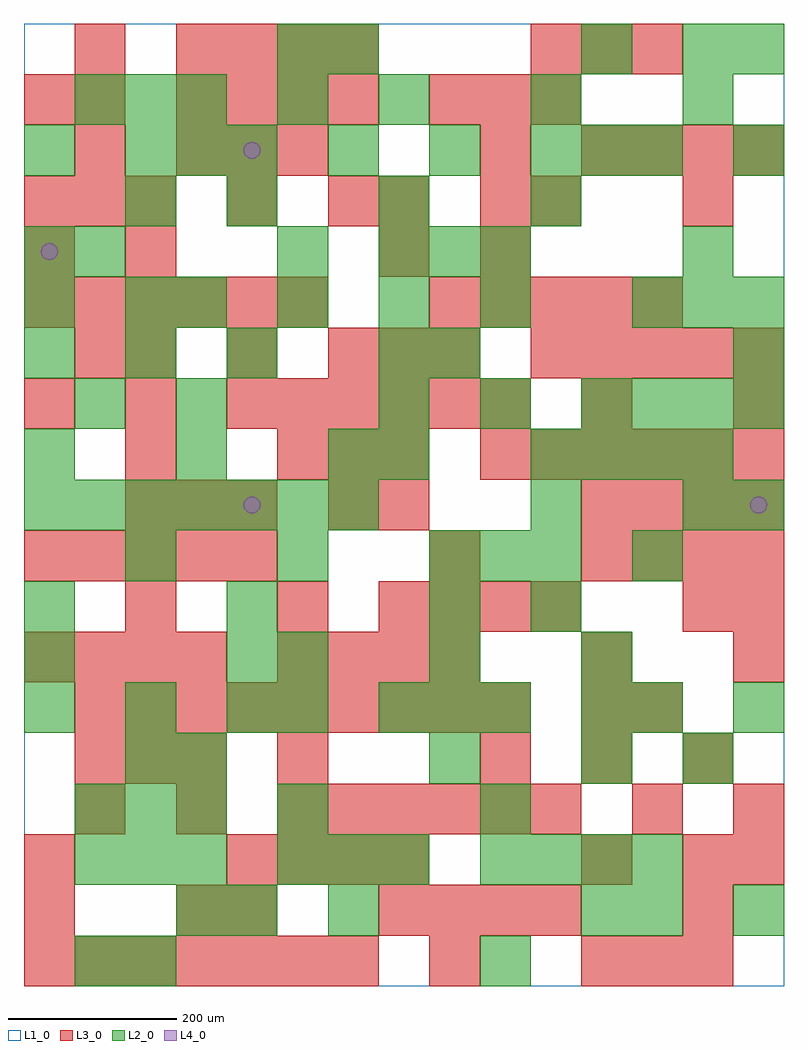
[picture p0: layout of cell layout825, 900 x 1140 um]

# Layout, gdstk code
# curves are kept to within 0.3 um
import gdstk
lib = gdstk.Library(unit=1e-6, precision=1e-09)
def R(c, l, rs):  # rectangles x0, y0, x1, y1
    for r in rs: c.add(gdstk.rectangle(r[:2], r[2:], *l))
def A(c, l, x, y, w, h, nx, ny, dx, dy):  # array of equal rectangles
    R(c, l, [(x+i*dx, y+j*dy, x+i*dx+w, y+j*dy+h) for i in range(nx) for j in range(ny)])
def P(c, l, *ps):  # polygons
    for p in ps: c.add(gdstk.Polygon(p, *l))
L1_0 = (1, 0)
L2_0 = (2, 0)
L3_0 = (3, 0)
L4_0 = (4, 0)

layout825 = lib.new_cell('layout825')
R(layout825, L1_0, [(0,0,900,1140)])
A(layout825, L2_0, 840, 60, 60, 60, 1, 3, 0, 240)
A(layout825, L2_0, 60, 120, 60, 60, 3, 2, 60, 60)
A(layout825, L2_0, 300, 120, 60, 60, 3, 1, 60, 0)
A(layout825, L2_0, 540, 120, 60, 60, 4, 1, 60, 0)
A(layout825, L2_0, 780, 240, 60, 60, 1, 3, 0, 300)
A(layout825, L2_0, 0, 300, 60, 60, 3, 2, 120, 420)
A(layout825, L2_0, 420, 300, 60, 60, 3, 2, 60, 540)
A(layout825, L2_0, 300, 360, 60, 60, 3, 1, 180, 0)
A(layout825, L2_0, 0, 420, 60, 60, 3, 1, 240, 0)
A(layout825, L2_0, 600, 420, 60, 60, 1, 3, 0, 60)
A(layout825, L2_0, 120, 480, 60, 60, 3, 1, 180, 0)
A(layout825, L2_0, 0, 540, 60, 60, 7, 1, 60, 0)
A(layout825, L2_0, 0, 600, 60, 60, 3, 1, 180, 0)
A(layout825, L2_0, 600, 600, 60, 60, 4, 1, 60, 0)
A(layout825, L2_0, 420, 660, 60, 60, 3, 1, 120, 0)
A(layout825, L2_0, 720, 660, 60, 60, 3, 2, 60, 120)
A(layout825, L2_0, 180, 780, 60, 60, 4, 1, 120, 0)
A(layout825, L2_0, 240, 900, 60, 60, 3, 1, 180, 0)
A(layout825, L2_0, 120, 960, 60, 60, 3, 1, 60, 0)
A(layout825, L2_0, 360, 960, 60, 60, 3, 1, 120, 0)
A(layout825, L2_0, 60, 1020, 60, 60, 3, 1, 60, 0)
A(layout825, L2_0, 420, 1020, 60, 60, 3, 1, 180, 0)
R(layout825, L2_0, [(60,0,120,60), (120,0,180,60), (540,0,600,60), (180,60,240,120), (240,60,300,120), (360,60,420,120), (660,60,720,120), (720,60,780,120), (300,180,360,240), (540,180,600,240), (120,240,180,300), (180,240,240,300), (480,240,540,300), (660,240,720,300), (300,300,360,360), (660,300,720,360), (720,300,780,360), (0,360,60,420), (240,360,300,420), (540,480,600,540), (720,480,780,540), (420,600,480,660), (60,660,120,720), (180,660,240,720), (420,720,480,780), (480,720,540,780), (840,720,900,780), (0,780,60,840), (120,780,180,840), (0,840,60,900), (60,840,120,900), (300,840,360,900), (120,900,180,960), (0,960,60,1020), (660,960,720,1020), (720,960,780,1020), (840,960,900,1020), (300,1020,360,1080), (300,1080,360,1140), (360,1080,420,1140), (660,1080,720,1140), (780,1080,840,1140), (840,1080,900,1140)])
A(layout825, L3_0, 0, 0, 60, 60, 7, 1, 60, 0)
A(layout825, L3_0, 660, 0, 60, 60, 3, 1, 60, 0)
A(layout825, L3_0, 420, 60, 60, 60, 4, 2, 60, 360)
A(layout825, L3_0, 240, 120, 60, 60, 4, 1, 60, 0)
A(layout825, L3_0, 60, 180, 60, 60, 3, 1, 120, 0)
A(layout825, L3_0, 360, 180, 60, 60, 5, 1, 60, 0)
A(layout825, L3_0, 60, 240, 60, 60, 3, 1, 60, 0)
A(layout825, L3_0, 540, 240, 60, 60, 3, 1, 120, 0)
A(layout825, L3_0, 60, 300, 60, 60, 9, 1, 60, 0)
A(layout825, L3_0, 0, 360, 60, 60, 4, 1, 60, 0)
A(layout825, L3_0, 300, 360, 60, 60, 4, 1, 60, 0)
A(layout825, L3_0, 0, 480, 60, 60, 5, 1, 60, 0)
A(layout825, L3_0, 660, 480, 60, 60, 4, 2, 60, 60)
A(layout825, L3_0, 120, 540, 60, 60, 3, 1, 60, 0)
A(layout825, L3_0, 300, 600, 60, 60, 3, 1, 60, 0)
A(layout825, L3_0, 540, 600, 60, 60, 6, 1, 60, 0)
A(layout825, L3_0, 0, 660, 60, 60, 3, 1, 120, 0)
A(layout825, L3_0, 300, 660, 60, 60, 5, 1, 60, 0)
A(layout825, L3_0, 120, 720, 60, 60, 3, 1, 120, 0)
A(layout825, L3_0, 600, 720, 60, 60, 5, 1, 60, 0)
A(layout825, L3_0, 0, 780, 60, 60, 6, 1, 60, 0)
A(layout825, L3_0, 480, 780, 60, 60, 5, 1, 60, 0)
A(layout825, L3_0, 540, 840, 60, 60, 1, 3, 0, 60)
A(layout825, L3_0, 0, 900, 60, 60, 3, 1, 60, 0)
A(layout825, L3_0, 60, 960, 60, 60, 1, 3, 0, 60)
A(layout825, L3_0, 180, 960, 60, 60, 3, 1, 60, 0)
A(layout825, L3_0, 660, 960, 60, 60, 4, 1, 60, 0)
A(layout825, L3_0, 180, 1020, 60, 60, 4, 2, 60, 60)
A(layout825, L3_0, 480, 1020, 60, 60, 3, 1, 60, 0)
A(layout825, L3_0, 600, 1080, 60, 60, 3, 1, 60, 0)
R(layout825, L3_0, [(480,0,540,60), (0,60,60,120), (180,60,240,120), (240,60,300,120), (780,60,840,120), (0,120,60,180), (660,120,720,180), (780,120,840,180), (840,120,900,180), (720,180,780,240), (840,180,900,240), (300,240,360,300), (660,300,720,360), (720,300,780,360), (660,360,720,420), (840,360,900,420), (120,420,180,480), (300,420,360,480), (780,420,840,480), (840,420,900,480), (480,480,540,540), (360,540,420,600), (420,540,480,600), (120,600,180,660), (660,660,720,720), (840,660,900,720), (60,720,120,780), (420,720,480,780), (480,720,540,780), (0,840,60,900), (120,840,180,900), (420,840,480,900), (240,900,300,960), (360,900,420,960), (420,900,480,960), (600,900,660,960), (780,900,840,960), (0,1020,60,1080)])
P(layout825, L4_0, [(40,870),(39.239,873.827),(37.071,877.071),(33.827,879.239),(30,880),(26.173,879.239),(22.929,877.071),(20.761,873.827),(20,870),(20.761,866.173),(22.929,862.929),(26.173,860.761),(30,860),(33.827,860.761),(37.071,862.929),(39.239,866.173)],
  [(280,570),(279.239,573.827),(277.071,577.071),(273.827,579.239),(270,580),(266.173,579.239),(262.929,577.071),(260.761,573.827),(260,570),(260.761,566.173),(262.929,562.929),(266.173,560.761),(270,560),(273.827,560.761),(277.071,562.929),(279.239,566.173)],
  [(280,990),(279.239,993.827),(277.071,997.071),(273.827,999.239),(270,1000),(266.173,999.239),(262.929,997.071),(260.761,993.827),(260,990),(260.761,986.173),(262.929,982.929),(266.173,980.761),(270,980),(273.827,980.761),(277.071,982.929),(279.239,986.173)],
  [(880,570),(879.239,573.827),(877.071,577.071),(873.827,579.239),(870,580),(866.173,579.239),(862.929,577.071),(860.761,573.827),(860,570),(860.761,566.173),(862.929,562.929),(866.173,560.761),(870,560),(873.827,560.761),(877.071,562.929),(879.239,566.173)])

lib.write_gds('layout825.gds')
